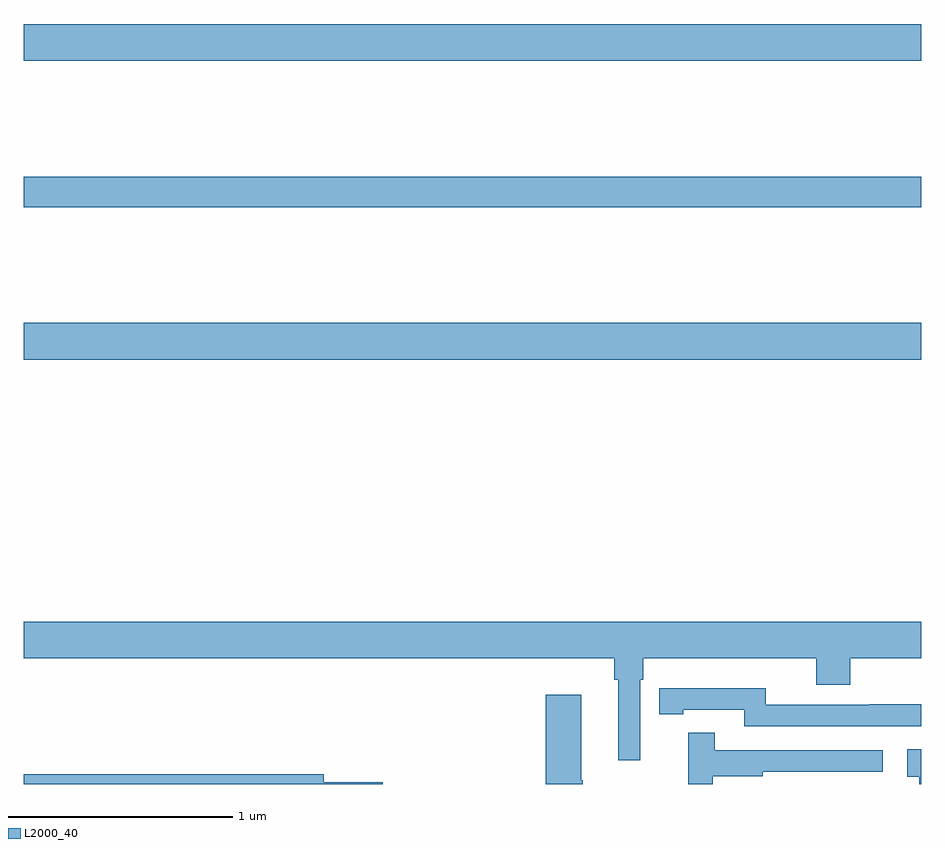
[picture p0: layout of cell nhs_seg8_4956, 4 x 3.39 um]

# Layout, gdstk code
import gdstk
lib = gdstk.Library(unit=1e-6, precision=1e-09)
def R(c, l, rs):  # rectangles x0, y0, x1, y1
    for r in rs: c.add(gdstk.rectangle(r[:2], r[2:], *l))
def P(c, l, *ps):  # polygons
    for p in ps: c.add(gdstk.Polygon(p, *l))
L2000_40 = (2000, 40)

nhs_seg8_4956 = lib.new_cell('nhs_seg8_4956')
R(nhs_seg8_4956, L2000_40, [(409,1157.792,413,1157.956), (409,1158.472,413,1158.608), (409,1159.124,413,1159.288)])
P(nhs_seg8_4956, L2000_40, [(411.747,1156.364),(411.761,1156.364),(411.761,1156.46),(412.532,1156.46),(412.532,1156.343),(412.685,1156.343),(412.685,1156.46),(413,1156.46),(413,1156.624),(409,1156.624),(409,1156.46),(411.631,1156.46),(411.631,1156.364),(411.65,1156.364),(411.65,1156.005),(411.747,1156.005)],
  [(413,1156.256),(412.768,1156.256),(412.768,1156.254),(412.308,1156.254),(412.308,1156.327),(411.94,1156.327),(411.94,1156.326),(411.832,1156.326),(411.832,1156.21),(411.94,1156.21),(411.94,1156.23),(412.212,1156.23),(412.212,1156.158),(413,1156.158)],
  [(411.492,1155.917),(411.484,1155.917),(411.484,1156.297),(411.326,1156.297),(411.326,1155.9),(411.492,1155.9)],
  [(412.072,1155.934),(412.295,1155.934),(412.295,1155.954),(412.828,1155.954),(412.828,1156.05),(412.079,1156.05),(412.079,1156.129),(411.962,1156.129),(411.962,1155.9),(412.072,1155.9)],
  [(413,1156.054),(412.938,1156.054),(412.938,1155.933),(412.991,1155.933),(412.991,1155.9),(413,1155.9)],
  [(410.599,1155.908),(410.338,1155.908),(410.338,1155.944),(409,1155.944),(409,1155.9),(410.599,1155.9)])

lib.write_gds('nhs_seg8_4956.gds')
